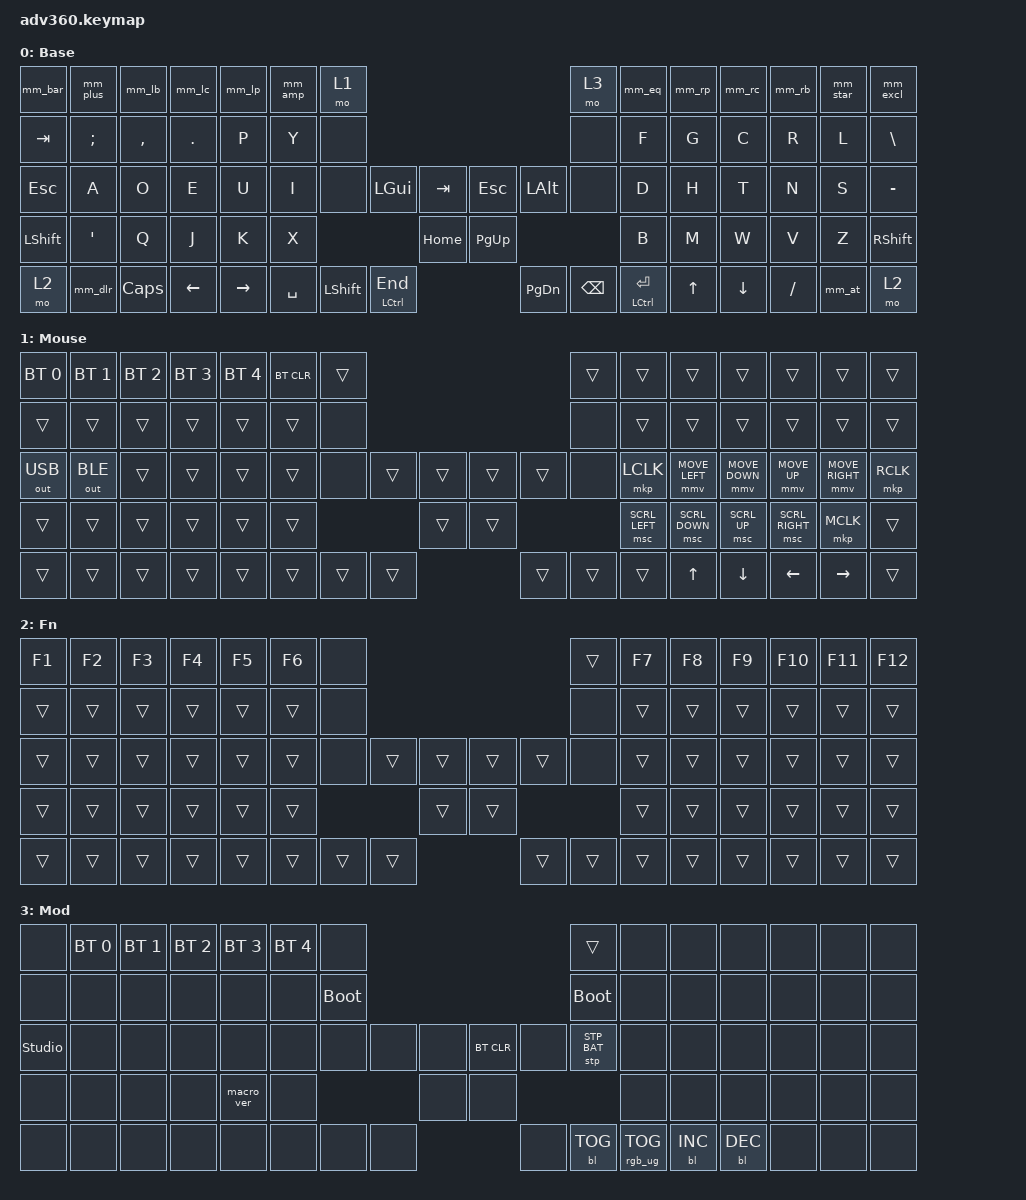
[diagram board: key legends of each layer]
#include <behaviors.dtsi>
#include <dt-bindings/zmk/keys.h>
#include <dt-bindings/zmk/bt.h>
#include <dt-bindings/zmk/rgb.h>
#include <dt-bindings/zmk/backlight.h>
#include <dt-bindings/zmk/pointing.h>
#include <dt-bindings/zmk/outputs.h>
#include <dt-bindings/zmk/stp.h>

/ {
    behaviors {
      #include "macros.dtsi"
      #include "version.dtsi"

      hm: homerow_mods {
          compatible = "zmk,behavior-hold-tap";
          label = "HOMEROW_MODS";
          #binding-cells = <2>;
          tapping-term-ms = <200>;
          quick_tap_ms = <175>;
          flavor = "tap-preferred";
          bindings = <&kp>, <&kp>;
      };

      /* ── Real Programmer Dvorak inverted keys ───────────────────────
         Each key outputs the Dvorak char unshifted, and the char in
         parentheses when shift is held.                      */

      mm_dlr:  mm_dlr  { compatible = "zmk,behavior-mod-morph"; #binding-cells = <0>; bindings = <&kp LS(N4)>, <&kp LS(GRAVE)>;  mods = <(MOD_LSFT | MOD_RSFT)>; }; /* $ (~) */
      mm_plus: mm_plus { compatible = "zmk,behavior-mod-morph"; #binding-cells = <0>; bindings = <&kp LS(EQUAL)>, <&kp N1>;         mods = <(MOD_LSFT | MOD_RSFT)>; }; /* + (1) */
      mm_lb:   mm_lb   { compatible = "zmk,behavior-mod-morph"; #binding-cells = <0>; bindings = <&kp LS(LBKT)>, <&kp N2>;        mods = <(MOD_LSFT | MOD_RSFT)>; }; /* [ (2) */
      mm_lc:   mm_lc   { compatible = "zmk,behavior-mod-morph"; #binding-cells = <0>; bindings = <&kp LS(LBKT)>, <&kp N3>;        mods = <(MOD_LSFT | MOD_RSFT)>; }; /* { (3) */
      mm_lp:   mm_lp   { compatible = "zmk,behavior-mod-morph"; #binding-cells = <0>; bindings = <&kp LS(N9)>, <&kp N4>;         mods = <(MOD_LSFT | MOD_RSFT)>; }; /* ( (4) */
      mm_amp:  mm_amp  { compatible = "zmk,behavior-mod-morph"; #binding-cells = <0>; bindings = <&kp LS(N7)>, <&kp N5>;         mods = <(MOD_LSFT | MOD_RSFT)>; }; /* & (5) */
      mm_eq:   mm_eq   { compatible = "zmk,behavior-mod-morph"; #binding-cells = <0>; bindings = <&kp EQUAL>, <&kp N6>;         mods = <(MOD_LSFT | MOD_RSFT)>; }; /* = (6) */
      mm_rp:   mm_rp   { compatible = "zmk,behavior-mod-morph"; #binding-cells = <0>; bindings = <&kp LS(N0)>, <&kp N7>;         mods = <(MOD_LSFT | MOD_RSFT)>; }; /* ) (7) */
      mm_rc:   mm_rc   { compatible = "zmk,behavior-mod-morph"; #binding-cells = <0>; bindings = <&kp LS(RBKT)>, <&kp N8>;       mods = <(MOD_LSFT | MOD_RSFT)>; }; /* } (8) */
      mm_rb:   mm_rb   { compatible = "zmk,behavior-mod-morph"; #binding-cells = <0>; bindings = <&kp LS(RBKT)>, <&kp N9>;       mods = <(MOD_LSFT | MOD_RSFT)>; }; /* ] (9) */
      mm_star: mm_star { compatible = "zmk,behavior-mod-morph"; #binding-cells = <0>; bindings = <&kp LS(N8)>, <&kp N0>;         mods = <(MOD_LSFT | MOD_RSFT)>; }; /* * (0) */
      mm_excl: mm_excl { compatible = "zmk,behavior-mod-morph"; #binding-cells = <0>; bindings = <&kp LS(N1)>, <&kp LS(N5)>;     mods = <(MOD_LSFT | MOD_RSFT)>; }; /* ! (%) */
      mm_bar:  mm_bar  { compatible = "zmk,behavior-mod-morph"; #binding-cells = <0>; bindings = <&kp LS(BSLH)>, <&kp GRAVE>;      mods = <(MOD_LSFT | MOD_RSFT)>; }; /* | (`) */
      mm_at:   mm_at   { compatible = "zmk,behavior-mod-morph"; #binding-cells = <0>; bindings = <&kp LS(N2)>, <&kp LS(N6)>;     mods = <(MOD_LSFT | MOD_RSFT)>; }; /* @ (^) */
    };

  keymap {
    compatible = "zmk,keymap";

    /* ── Layer 0: Base — Real Programmer Dvorak ───────────────────────
       Number row follows the RPD xkb map; letters follow Dvorak.
       Left key next to 5: hold → mouse layer. Key next to 6: mod layer. */

    default_layer {
      display-name = "Base";
      bindings = <
        &mm_bar  &mm_plus &mm_lb  &mm_lc  &mm_lp   &mm_amp &mo 1                                                            &mo 3 &mm_eq  &mm_rp  &mm_rc   &mm_rb   &mm_star &mm_excl
        &kp TAB  &kp SEMI &kp COMMA &kp DOT &kp P   &kp Y   &none                                                            &none &kp F   &kp G   &kp C    &kp R    &kp L    &kp BSLH
        &kp ESC  &kp A    &kp O   &kp E    &kp U    &kp I   &none           &kp LGUI &kp TAB &kp ESC  &kp LALT           &none &kp D   &kp H   &kp T    &kp N    &kp S    &kp MINUS
        &kp LSHFT &kp SQT  &kp Q   &kp J    &kp K    &kp X                                 &kp HOME &kp PG_UP                           &kp B  &kp M   &kp W    &kp V    &kp Z    &kp RSHFT
        &mo 2    &mm_dlr &kp CAPS &kp LEFT &kp RIGHT              &kp SPACE  &kp LEFT_SHIFT  &mt LCTRL END      &kp PG_DN  &kp BACKSPACE  &mt LCTRL RETURN              &kp UP &kp DOWN &kp FSLH &mm_at &mo 2
      >;
    };

    /* ── Layer 1: Mouse / Nav (hold the key left of "5") ───────────────
       Right hand home row:  click | ← ↓ ↑ → | click
       Row below:            scroll ← ↓ ↑ → | middle click
       Left number row:      Bluetooth profile select / clear
       Left Esc row:         output selection (USB / BLE)             */

    mouse {
      display-name = "Mouse";
      bindings = <
        &bt BT_SEL 0 &bt BT_SEL 1 &bt BT_SEL 2 &bt BT_SEL 3 &bt BT_SEL 4 &bt BT_CLR &trans                                                        &trans &trans   &trans    &trans    &trans    &trans   &trans
        &trans       &trans      &trans      &trans      &trans      &trans      &none                                                            &none &trans   &trans    &trans    &trans    &trans   &trans
        &out OUT_USB &out OUT_BLE &trans    &trans      &trans      &trans      &none           &trans &trans &trans &trans                    &none &mkp LCLK &mmv MOVE_LEFT &mmv MOVE_DOWN &mmv MOVE_UP &mmv MOVE_RIGHT &mkp RCLK
        &trans       &trans      &trans      &trans      &trans      &trans                                &trans &trans                                 &msc SCRL_LEFT &msc SCRL_DOWN &msc SCRL_UP &msc SCRL_RIGHT &mkp MCLK &trans
        &trans       &trans      &trans      &trans      &trans                   &trans &trans  &trans &trans &trans &trans                            &kp UP &kp DOWN &kp LEFT &kp RIGHT &trans
      >;
    };

    /* ── Layer 2: Fn (unchanged from stock) ─────────────────────────── */

    fn {
      display-name = "Fn";
      bindings = <
        &kp F1 &kp F2 &kp F3 &kp F4 &kp F5 &kp F6 &none                                           &trans &kp F7 &kp F8 &kp F9 &kp F10 &kp F11 &kp F12
        &trans &trans &trans &trans &trans &trans  &none                                           &none &trans &trans &trans &trans  &trans  &trans
        &trans &trans &trans &trans &trans &trans  &none        &trans &trans &trans &trans        &none &trans &trans &trans &trans  &trans  &trans
        &trans &trans &trans &trans &trans &trans                      &trans &trans                     &trans &trans &trans &trans  &trans  &trans
        &trans &trans &trans &trans &trans               &trans &trans &trans &trans &trans &trans              &trans &trans &trans  &trans  &trans
      >;
    };

    /* ── Layer 3: Mod (BT select, bootloader, RGB) — stock layout ───── */

    mod {
      display-name = "Mod";
      bindings = <
        &none &bt BT_SEL 0 &bt BT_SEL 1 &bt BT_SEL 2 &bt BT_SEL 3 &bt BT_SEL 4 &none                                                                     &trans                 &none        &none        &none        &none &none &none
        &none &none        &none        &none        &none        &none        &bootloader                                        &bootloader            &none        &none        &none        &none &none &none
        &studio_unlock &none        &none        &none        &none        &none        &none                   &none &none &bt BT_CLR &none                      &stp STP_BAT &none        &none        &none        &none &none &none
        &none &none        &none        &none        &macro_ver   &none                                      &none &none                                                        &none        &none        &none        &none &none &none
        &none &none        &none        &none        &none                                       &none &none &none &none      &bl BL_TOG &rgb_ug RGB_TOG                                     &bl BL_INC   &bl BL_DEC   &none &none &none
      >;
    };

    extra1 {
      display-name = "Red";
      status = "reserved";
    };

    extra2 {
      display-name = "Purple";
      status = "reserved";
    };

    extra3 {
      display-name = "Cyan";
      status = "reserved";
    };

    extra4 {
      display-name = "Yellow";
      status = "reserved";
    };
  };
};
